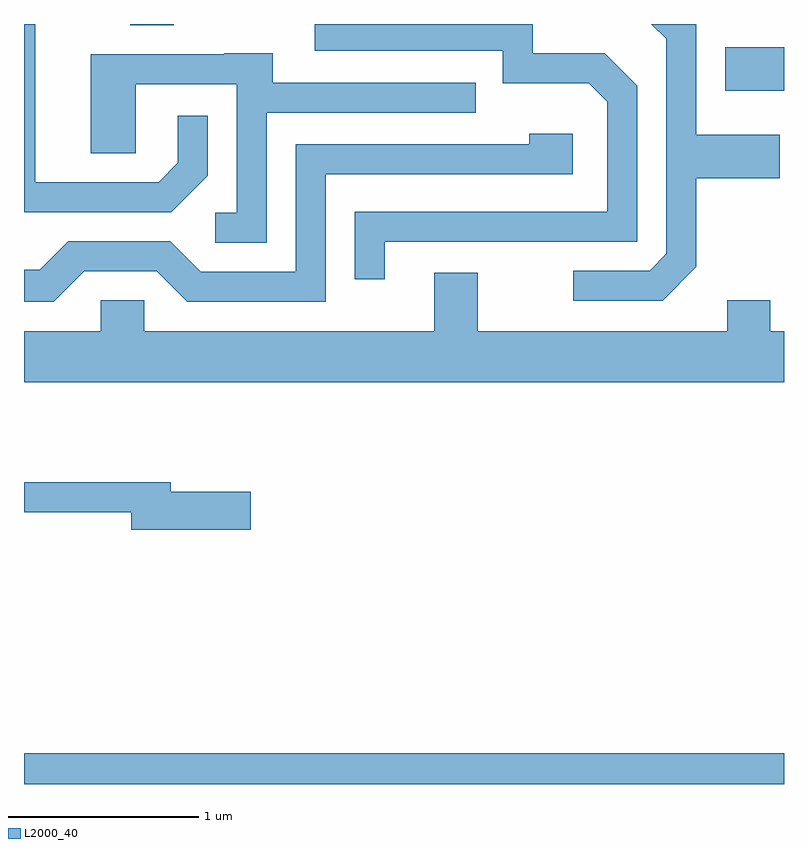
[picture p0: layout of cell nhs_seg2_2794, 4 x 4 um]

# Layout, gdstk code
import gdstk
lib = gdstk.Library(unit=1e-6, precision=1e-09)
def R(c, l, rs):  # rectangles x0, y0, x1, y1
    for r in rs: c.add(gdstk.rectangle(r[:2], r[2:], *l))
def P(c, l, *ps):  # polygons
    for p in ps: c.add(gdstk.Polygon(p, *l))
L2000_40 = (2000, 40)

nhs_seg2_2794 = lib.new_cell('nhs_seg2_2794')
R(nhs_seg2_2794, L2000_40, [(267.611,1001.802,271.611,1001.964), (271.301,1005.451,271.611,1005.679), (268.171,1005.796,268.399,1005.802)])
P(nhs_seg2_2794, L2000_40, [(271.149,1004.524),(271.149,1004.991),(271.589,1004.991),(271.589,1005.219),(271.149,1005.219),(271.149,1005.802),(270.913,1005.802),(270.991,1005.724),(270.991,1004.592),(270.904,1004.504),(270.503,1004.504),(270.503,1004.346),(270.972,1004.346)],
  [(268.579,1005.004),(268.579,1005.318),(268.421,1005.318),(268.421,1005.072),(268.319,1004.969),(267.669,1004.969),(267.669,1005.802),(267.611,1005.802),(267.611,1004.811),(268.387,1004.811)],
  [(269.509,1004.656),(270.839,1004.656),(270.839,1005.477),(270.667,1005.649),(270.289,1005.649),(270.289,1005.802),(269.141,1005.802),(269.141,1005.661),(270.131,1005.661),(270.131,1005.491),(270.584,1005.491),(270.681,1005.394),(270.681,1004.814),(269.351,1004.814),(269.351,1004.458),(269.509,1004.458)],
  [(268.889,1005.336),(269.988,1005.336),(269.988,1005.494),(268.919,1005.494),(268.919,1005.649),(268.665,1005.649),(268.665,1005.644),(267.961,1005.644),(267.961,1005.121),(268.199,1005.121),(268.199,1005.486),(268.731,1005.486),(268.731,1004.809),(268.618,1004.809),(268.618,1004.651),(268.889,1004.651)],
  [(267.927,1004.501),(268.309,1004.501),(268.469,1004.341),(269.199,1004.341),(269.199,1005.011),(270.499,1005.011),(270.499,1005.224),(270.271,1005.224),(270.271,1005.169),(269.041,1005.169),(269.041,1004.499),(268.542,1004.499),(268.382,1004.659),(267.844,1004.659),(267.694,1004.509),(267.611,1004.509),(267.611,1004.341),(267.767,1004.341)],
  [(271.611,1004.184),(271.539,1004.184),(271.539,1004.349),(271.311,1004.349),(271.311,1004.184),(269.999,1004.184),(269.999,1004.494),(269.771,1004.494),(269.771,1004.184),(268.244,1004.184),(268.244,1004.349),(268.016,1004.349),(268.016,1004.184),(267.611,1004.184),(267.611,1003.916),(271.611,1003.916)],
  [(268.804,1003.339),(268.384,1003.339),(268.384,1003.389),(267.611,1003.389),(267.611,1003.231),(268.176,1003.231),(268.176,1003.141),(268.804,1003.141)])

lib.write_gds('nhs_seg2_2794.gds')
